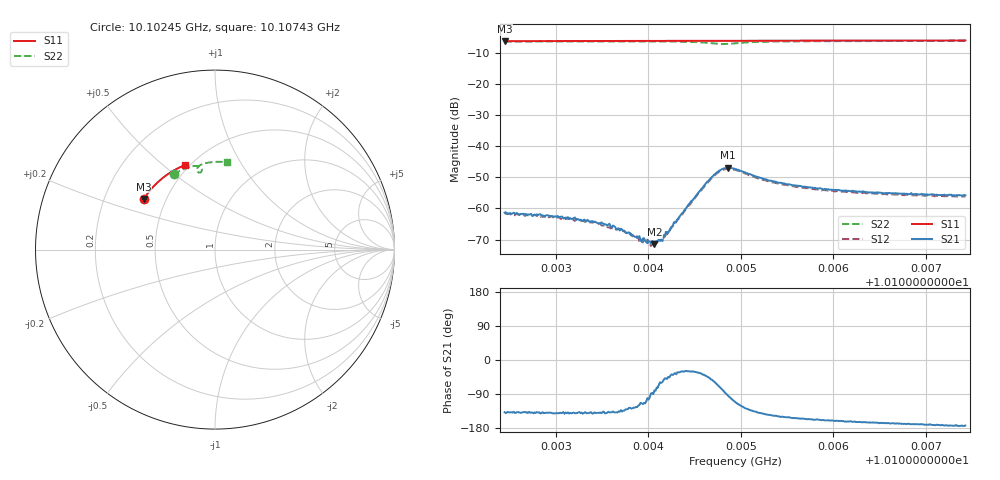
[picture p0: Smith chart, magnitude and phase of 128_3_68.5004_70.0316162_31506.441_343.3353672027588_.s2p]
#  HZ  S  RI  R  50.00
! Rohde & Schwarz Vector Network Analyzer
! Rohde-Schwarz,ZNB20-2Port,1311601062101988,3.16
! Created: UTC 3/20/2024, 4:54:16 PM
! freq[Hz]  re:S11  im:S11  re:S21  im:S21  re:S12  im:S12  re:S22  im:S22
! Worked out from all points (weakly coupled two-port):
!   401 points, 10.10245 GHz to 10.10743 GHz, reference 50 ohm
!   highest |S21| = -46.95 dB at 10.10486 GHz (marker M1); lowest = -71.5 dB at 10.10407 GHz (marker M2)
!   lowest |S11| = -6.3 dB at 10.10245 GHz (marker M3), VSWR 2.90, Z = 18.8 + j13.9 ohm
!   |S11| at or under -10 dB: nowhere
!   |S22| runs from -7.2 to -6.2 dB; largest |S21 - S12| = 0.00045
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1.0102446e10  -0.3967 0.2819  -0.000632 -0.000576  -0.00055 -0.000606  -0.2302 0.4203
1.010282e10  -0.3842 0.3006  -0.000598 -0.000539  -0.00055 -0.000527  -0.2087 0.4323
1.0103281e10  -0.3672 0.3231  -0.000481 -0.00042  -0.000457 -0.000442  -0.181 0.4457
1.0103517e10  -0.358 0.3341  -0.000413 -0.000394  -0.000361 -0.000387  -0.1662 0.4521
1.0103692e10  -0.3511 0.3422  -0.000323 -0.000307  -0.000282 -0.000342  -0.1546 0.4563
1.0103866e10  -0.344 0.3501  -0.000195 -0.000289  -0.000188 -0.000308  -0.1427 0.4603
1.0103928e10  -0.3414 0.3528  -0.000119 -0.000266  -0.000114 -0.000274  -0.1382 0.4614
1.0103978e10  -0.3393 0.355  -9.28e-05 -0.000272  -3.97e-05 -0.000277  -0.1346 0.4625
1.0104003e10  -0.3383 0.3561  -7.49e-05 -0.000285  -1.17e-05 -0.000281  -0.1326 0.4629
1.0104065e10  -0.3357 0.3588  4.51e-05 -0.000263  5.89e-05 -0.000258  -0.1278 0.464
1.0104115e10  -0.3336 0.3611  0.000136 -0.000288  0.000129 -0.000278  -0.1241 0.4647
1.0104152e10  -0.3318 0.3625  0.000158 -0.000254  0.000185 -0.000266  -0.121 0.4652
1.0104202e10  -0.3297 0.3645  0.000266 -0.000318  0.000282 -0.00026  -0.117 0.4658
1.0104439e10  -0.3192 0.3746  0.00102 -0.00058  0.00101 -0.000467  -0.0948 0.4652
1.0104675e10  -0.3086 0.384  0.00194 -0.00238  0.00209 -0.0021  -0.0732 0.4467
1.0104775e10  -0.3041 0.3879  0.00128 -0.0039  0.00156 -0.00366  -0.0783 0.432
1.0104862e10  -0.3002 0.3913  -0.000327 -0.00448  4.95e-05 -0.00433  -0.092 0.4303
1.0104937e10  -0.2967 0.394  -0.0015 -0.00403  -0.00113 -0.00402  -0.0997 0.4387
1.0105323e10  -0.2785 0.4087  -0.00231 -0.00159  -0.00207 -0.00168  -0.079 0.4724
1.0105771e10  -0.2562 0.4244  -0.00199 -0.000854  -0.0018 -0.000959  -0.0454 0.483
1.0106606e10  -0.2125 0.45  -0.00173 -0.000396  -0.00161 -0.00052  0.0114 0.4891
1.0107427e10  -0.1673 0.4704  -0.00161 -0.000202  -0.00151 -0.000302  0.0652 0.4869
